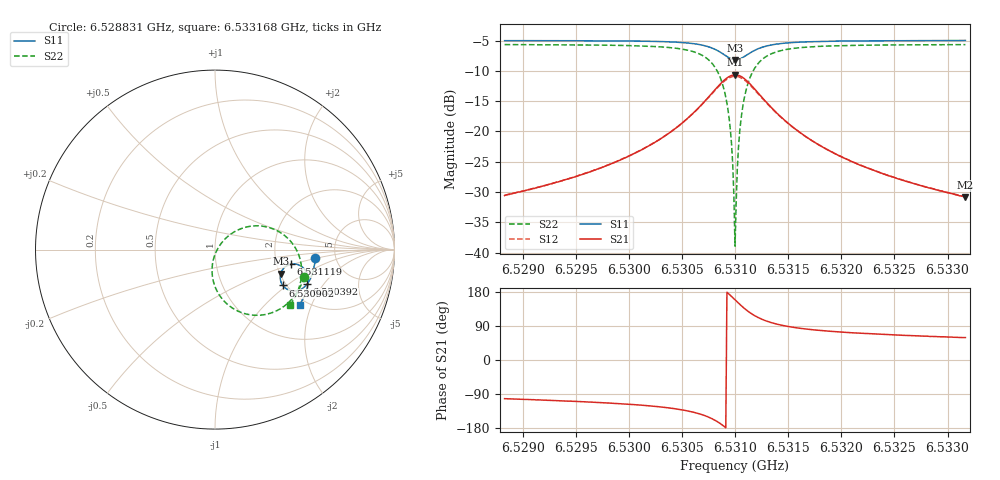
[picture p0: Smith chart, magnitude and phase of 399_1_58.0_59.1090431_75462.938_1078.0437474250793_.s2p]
#  HZ  S  RI  R  50.00
! Rohde & Schwarz Vector Network Analyzer
! Rohde-Schwarz,ZNB20-2Port,1311601062101988,3.16
! Created: UTC 3/21/2024, 1:08:09 AM
! freq[Hz]  re:S11  im:S11  re:S21  im:S21  re:S12  im:S12  re:S22  im:S22
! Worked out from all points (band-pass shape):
!   401 points, 6.528831 GHz to 6.533168 GHz, reference 50 ohm
!   highest |S21| = -10.65 dB at 6.531 GHz (marker M1); lowest = -30.9 dB at 6.533168 GHz (marker M2)
!   |S21| within 3 dB of the highest: 6.530784 GHz to 6.531218 GHz (433.5 kHz wide, 0.00664 % of centre)
!   lowest |S11| = -8.2 dB at 6.531 GHz (marker M3), VSWR 2.28, Z = 101 - j31.9 ohm
!   |S11| at or under -10 dB: nowhere
!   |S22| runs from -38.9 to -5.7 dB; largest |S21 - S12| = 0.011
!   S11 on the Smith chart (normalised r, x): 6.528831 GHz: 3.48, -0.50; 6.530392 GHz: 2.56, -1.40; 6.530902 GHz: 1.91, -0.94; 6.531119 GHz: 2.41, -0.48; 6.533168 GHz: 1.82, -1.65
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6.5288308e9  0.559 -0.0491  -0.00618 -0.0289  -0.00674 -0.0291  0.4981 -0.1522
6.5295573e9  0.5496 -0.109  -0.0152 -0.0415  -0.0161 -0.0412  0.4689 -0.2186
6.5302839e9  0.5223 -0.1794  -0.0472 -0.0713  -0.0489 -0.07  0.3914 -0.311
6.5303923e9  0.5134 -0.1922  -0.0594 -0.079  -0.0617 -0.0774  0.3651 -0.3291
6.5307393e9  0.447 -0.2304  -0.1613 -0.0955  -0.1634 -0.089  0.1726 -0.3585
6.5308369e9  0.4066 -0.2231  -0.2241 -0.0674  -0.2231 -0.0584  0.0665 -0.3023
6.530902e9  0.378 -0.1997  -0.2662 -0.0173  -0.2613 -0.00819  0.00222 -0.2117
6.5309453e9  0.3654 -0.1734  -0.2822 0.0329  -0.2743 0.0406  -0.0164 -0.125
6.530967e9  0.3629 -0.1578  -0.2831 0.0617  -0.2741 0.0679  -0.0136 -0.0775
6.5309779e9  0.3631 -0.1499  -0.2816 0.0763  -0.272 0.0818  -0.00865 -0.0536
6.5309887e9  0.3639 -0.1418  -0.2786 0.091  -0.2687 0.0955  -0.00114 -0.03
6.5309996e9  0.3658 -0.1338  -0.2738 0.1053  -0.2639 0.1089  0.00869 -0.00726
6.5310212e9  0.372 -0.1189  -0.2606 0.1322  -0.2507 0.1339  0.0346 0.0348
6.5310321e9  0.3761 -0.112  -0.252 0.1444  -0.2424 0.1452  0.0504 0.0535
6.5310538e9  0.3866 -0.1001  -0.2323 0.1654  -0.2233 0.1648  0.0862 0.0851
6.5310863e9  0.4051 -0.0873  -0.1981 0.188  -0.1908 0.1859  0.1461 0.1171
6.5311188e9  0.4246 -0.081  -0.1631 0.1998  -0.1574 0.197  0.2063 0.1312
6.5311947e9  0.4641 -0.0843  -0.0939 0.1978  -0.091 0.1952  0.3228 0.1157
6.5313032e9  0.4972 -0.1072  -0.0357 0.1673  -0.0341 0.1659  0.4176 0.0505
6.5317261e9  0.5192 -0.1835  0.0144 0.0825  0.0154 0.0822  0.4832 -0.1289
6.5324526e9  0.4992 -0.2556  0.0169 0.0395  0.0175 0.0392  0.4556 -0.2446
6.5331683e9  0.4714 -0.3083  0.0147 0.0246  0.0155 0.0245  0.4204 -0.3068
